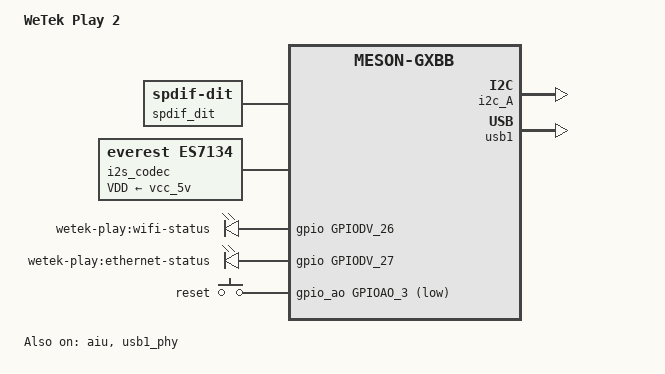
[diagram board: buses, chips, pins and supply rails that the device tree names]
// SPDX-License-Identifier: (GPL-2.0+ OR MIT)
/*
 * Copyright (c) 2016 BayLibre, Inc.
 * Author: Neil Armstrong <narmstrong@baylibre.com>
 */

/dts-v1/;

#include "meson-gxbb-wetek.dtsi"
#include <dt-bindings/input/input.h>
#include <dt-bindings/sound/meson-aiu.h>

/ {
	compatible = "wetek,play2", "amlogic,meson-gxbb";
	model = "WeTek Play 2";

	spdif_dit: audio-codec-0 {
		#sound-dai-cells = <0>;
		compatible = "linux,spdif-dit";
		status = "okay";
		sound-name-prefix = "DIT";
	};

	i2s_codec: audio-codec-1 {
		#sound-dai-cells = <0>;
		compatible = "everest,es7134";
		VDD-supply = <&vcc_5v>;
		status = "okay";
	};

	leds {
		led-wifi {
			label = "wetek-play:wifi-status";
			gpios = <&gpio GPIODV_26 GPIO_ACTIVE_HIGH>;
			default-state = "off";
		};

		led-ethernet {
			label = "wetek-play:ethernet-status";
			gpios = <&gpio GPIODV_27 GPIO_ACTIVE_HIGH>;
			default-state = "off";
		};
	};

	gpio-keys-polled {
		compatible = "gpio-keys-polled";
		poll-interval = <100>;

		button {
			label = "reset";
			linux,code = <KEY_RESTART>;
			gpios = <&gpio_ao GPIOAO_3 GPIO_ACTIVE_LOW>;
		};
	};

	sound {
		compatible = "amlogic,gx-sound-card";
		model = "WETEK-PLAY2";
		assigned-clocks = <&clkc CLKID_MPLL0>,
				  <&clkc CLKID_MPLL1>,
				  <&clkc CLKID_MPLL2>;
		assigned-clock-parents = <0>, <0>, <0>;
		assigned-clock-rates = <294912000>,
				       <270950400>,
				       <393216000>;
		status = "okay";

		dai-link-0 {
			sound-dai = <&aiu AIU_CPU CPU_I2S_FIFO>;
		};

		dai-link-1 {
			sound-dai = <&aiu AIU_CPU CPU_SPDIF_FIFO>;
		};

		dai-link-2 {
			sound-dai = <&aiu AIU_CPU CPU_I2S_ENCODER>;
			dai-format = "i2s";
			mclk-fs = <256>;

			codec-0 {
				sound-dai = <&aiu AIU_HDMI CTRL_I2S>;
			};

			codec-1 {
				sound-dai = <&i2s_codec>;
			};
		};

		dai-link-3 {
			sound-dai = <&aiu AIU_CPU CPU_SPDIF_ENCODER>;

			codec-0 {
				sound-dai = <&spdif_dit>;
			};
		};

		dai-link-4 {
			sound-dai = <&aiu AIU_HDMI CTRL_OUT>;

			codec-0 {
				sound-dai = <&hdmi_tx>;
			};
		};
	};
};

&aiu {
	status = "okay";
	pinctrl-0 = <&i2s_am_clk_pins>, <&i2s_out_ao_clk_pins>,
		    <&i2s_out_lr_clk_pins>, <&i2s_out_ch01_ao_pins>,
		    <&spdif_out_y_pins>;
	pinctrl-names = "default";
};

&i2c_A {
	status = "okay";
	pinctrl-0 = <&i2c_a_pins>;
	pinctrl-names = "default";
};

&usb1_phy {
	status = "okay";
};

&usb1 {
	status = "okay";
};

&ir {
	linux,rc-map-name = "rc-wetek-play2";
};
